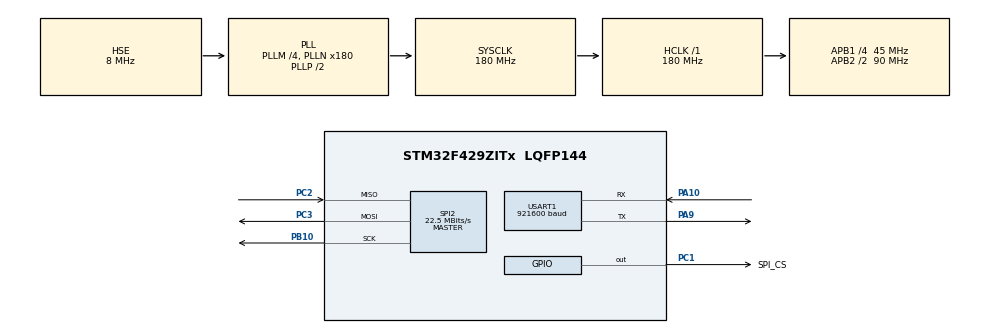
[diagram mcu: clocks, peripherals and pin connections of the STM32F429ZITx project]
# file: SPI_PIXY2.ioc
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Mcu.Family=STM32F4
Mcu.Name=STM32F429ZITx
Mcu.Package=LQFP144
NVIC.PriorityGroup=NVIC_PRIORITYGROUP_4
PA10.Mode=Asynchronous
PA10.Signal=USART1_RX
PA9.Mode=Asynchronous
PA9.Signal=USART1_TX
PB10.Mode=Full_Duplex_Master
PB10.Signal=SPI2_SCK
PC1.GPIO_Label=SPI_CS
PC1.GPIO_PuPd=GPIO_PULLUP
PC1.GPIO_Speed=GPIO_SPEED_FREQ_HIGH
PC1.PinState=GPIO_PIN_SET
PC1.Signal=GPIO_Output
PC2.Mode=Full_Duplex_Master
PC2.Signal=SPI2_MISO
PC3.Mode=Full_Duplex_Master
PC3.Signal=SPI2_MOSI
PH0/OSC_IN.Mode=HSE-External-Oscillator
PH0/OSC_IN.Signal=RCC_OSC_IN
PH1/OSC_OUT.Mode=HSE-External-Oscillator
PH1/OSC_OUT.Signal=RCC_OSC_OUT
ProjectManager.HeapSize=0x200
ProjectManager.StackSize=0x400
ProjectManager.TargetToolchain=STM32CubeIDE
RCC.48MHZClocksFreq_Value=90000000
RCC.AHBFreq_Value=180000000
RCC.APB1CLKDivider=RCC_HCLK_DIV4
RCC.APB1Freq_Value=45000000
RCC.APB1TimFreq_Value=90000000
RCC.APB2CLKDivider=RCC_HCLK_DIV2
RCC.APB2Freq_Value=90000000
RCC.APB2TimFreq_Value=180000000
RCC.CortexFreq_Value=180000000
RCC.HCLKFreq_Value=180000000
RCC.HSE_VALUE=8000000
RCC.HSI_VALUE=16000000
RCC.LSE_VALUE=32768
RCC.PLLM=4
RCC.PLLN=180
RCC.PLLSourceVirtual=RCC_PLLSOURCE_HSE
RCC.SYSCLKFreq_VALUE=180000000
RCC.SYSCLKSource=RCC_SYSCLKSOURCE_PLLCLK
RCC.VCOOutputFreq_Value=360000000
SPI2.CalculateBaudRate=22.5 MBits/s
SPI2.Direction=SPI_DIRECTION_2LINES
SPI2.Mode=SPI_MODE_MASTER
SPI2.VirtualType=VM_MASTER
USART1.BaudRate=921600
USART1.VirtualMode=VM_ASYNC
board=custom

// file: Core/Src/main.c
/* USER CODE BEGIN Header */
/**
 ******************************************************************************
 * @file           : main.c
 * @brief          : Main program body
 ******************************************************************************
 * @attention
 *
 * Copyright (c) 2023 STMicroelectronics.
 * All rights reserved.
 *
 * This software is licensed under terms that can be found in the LICENSE file
 * in the root directory of this software component.
 * If no LICENSE file comes with this software, it is provided AS-IS.
 *
 ******************************************************************************
 */
/* USER CODE END Header */
#include "main.h"

/* USER CODE BEGIN Includes */
#include "Pixy2.h"
#include "PIDLoop.h"
/* USER CODE END Includes */

SPI_HandleTypeDef hspi2;

UART_HandleTypeDef huart1;

void SystemClock_Config(void);
static void MX_GPIO_Init(void);
static void MX_SPI2_Init(void);
static void MX_USART1_UART_Init(void);

/* USER CODE BEGIN 0 */
int __io_putchar(int ch) {
	(void) HAL_UART_Transmit(&huart1, (uint8_t*) &ch, 1, 100);
	return ch;
}
/* USER CODE END 0 */

int main(void) {

	/* MCU Configuration--------------------------------------------------------*/

	/* Reset of all peripherals, Initializes the Flash interface and the Systick. */
	HAL_Init();

	/* Configure the system clock */
	SystemClock_Config();

	/* Initialize all configured peripherals */
	MX_GPIO_Init();
	MX_SPI2_Init();
	MX_USART1_UART_Init();
	/* USER CODE BEGIN 2 */
	extern Block *blocks;
	extern uint8_t numBlocks;
	extern Pixy2 pixy;
	int32_t panOffset, tiltOffset;
	PIDLoop pan_pid;
	PIDLoop tilt_pid;

	pixy2_init(&hspi2, SPI_CS_GPIO_Port, SPI_CS_Pin);

	PIDLoop_init(&pan_pid, 400, 0, 400);
	PIDLoop_init(&tilt_pid, 500, 0, 500);

	pixy2_printVersion();
	/* USER CODE END 2 */

	/* Infinite loop */
	/* USER CODE BEGIN WHILE */
	while (1) {

		numBlocks = pixy2_getBlocks(true, CCC_SIG_ALL, 0xff);

		if (numBlocks) {
			for (int i = 0; i < numBlocks; i++) {
				pixy2_printBlock(i);
			}
			printf("\r\n");

			panOffset = (int32_t) pixy.frameWidth / 2 - (int32_t) (blocks + 0)->m_x;
			tiltOffset = (int32_t) (blocks + 0)->m_y
					- (int32_t) pixy.frameHeight / 2;

			PIDLoop_update(&pan_pid, panOffset);
			PIDLoop_update(&tilt_pid, tiltOffset);

			// set pan and tilt servos
			pixy2_setServos((uint16_t)(pan_pid.m_command), (uint16_t)(tilt_pid.m_command));
		} else {
			//reset(&pan_pid);
			//reset(&tilt_pid);
			pixy2_setServos((uint16_t)(pan_pid.m_command), (uint16_t)(tilt_pid.m_command));
		}

		/* USER CODE END WHILE */

	}
}

void SystemClock_Config(void) {
	RCC_OscInitTypeDef RCC_OscInitStruct = { 0 };
	RCC_ClkInitTypeDef RCC_ClkInitStruct = { 0 };

	/** Configure the main internal regulator output voltage
	 */
	__HAL_RCC_PWR_CLK_ENABLE();
	__HAL_PWR_VOLTAGESCALING_CONFIG(PWR_REGULATOR_VOLTAGE_SCALE1);

	/** Initializes the RCC Oscillators according to the specified parameters
	 * in the RCC_OscInitTypeDef structure.
	 */
	RCC_OscInitStruct.OscillatorType = RCC_OSCILLATORTYPE_HSE;
	RCC_OscInitStruct.HSEState = RCC_HSE_ON;
	RCC_OscInitStruct.PLL.PLLState = RCC_PLL_ON;
	RCC_OscInitStruct.PLL.PLLSource = RCC_PLLSOURCE_HSE;
	RCC_OscInitStruct.PLL.PLLM = 4;
	RCC_OscInitStruct.PLL.PLLN = 180;
	RCC_OscInitStruct.PLL.PLLP = RCC_PLLP_DIV2;
	RCC_OscInitStruct.PLL.PLLQ = 4;
	if (HAL_RCC_OscConfig(&RCC_OscInitStruct) != HAL_OK) {
		Error_Handler();
	}

	/** Activate the Over-Drive mode
	 */
	if (HAL_PWREx_EnableOverDrive() != HAL_OK) {
		Error_Handler();
	}

	/** Initializes the CPU, AHB and APB buses clocks
	 */
	RCC_ClkInitStruct.ClockType = RCC_CLOCKTYPE_HCLK | RCC_CLOCKTYPE_SYSCLK
			| RCC_CLOCKTYPE_PCLK1 | RCC_CLOCKTYPE_PCLK2;
	RCC_ClkInitStruct.SYSCLKSource = RCC_SYSCLKSOURCE_PLLCLK;
	RCC_ClkInitStruct.AHBCLKDivider = RCC_SYSCLK_DIV1;
	RCC_ClkInitStruct.APB1CLKDivider = RCC_HCLK_DIV4;
	RCC_ClkInitStruct.APB2CLKDivider = RCC_HCLK_DIV2;

	if (HAL_RCC_ClockConfig(&RCC_ClkInitStruct, FLASH_LATENCY_5) != HAL_OK) {
		Error_Handler();
	}
}

static void MX_SPI2_Init(void) {

	/* SPI2 parameter configuration*/
	hspi2.Instance = SPI2;
	hspi2.Init.Mode = SPI_MODE_MASTER;
	hspi2.Init.Direction = SPI_DIRECTION_2LINES;
	hspi2.Init.DataSize = SPI_DATASIZE_8BIT;
	hspi2.Init.CLKPolarity = SPI_POLARITY_LOW;
	hspi2.Init.CLKPhase = SPI_PHASE_2EDGE;
	hspi2.Init.NSS = SPI_NSS_SOFT;
	hspi2.Init.BaudRatePrescaler = SPI_BAUDRATEPRESCALER_2;
	hspi2.Init.FirstBit = SPI_FIRSTBIT_MSB;
	hspi2.Init.TIMode = SPI_TIMODE_DISABLE;
	hspi2.Init.CRCCalculation = SPI_CRCCALCULATION_DISABLE;
	hspi2.Init.CRCPolynomial = 10;
	if (HAL_SPI_Init(&hspi2) != HAL_OK) {
		Error_Handler();
	}

}

static void MX_USART1_UART_Init(void) {

	huart1.Instance = USART1;
	huart1.Init.BaudRate = 921600;
	huart1.Init.WordLength = UART_WORDLENGTH_8B;
	huart1.Init.StopBits = UART_STOPBITS_1;
	huart1.Init.Parity = UART_PARITY_NONE;
	huart1.Init.Mode = UART_MODE_TX_RX;
	huart1.Init.HwFlowCtl = UART_HWCONTROL_NONE;
	huart1.Init.OverSampling = UART_OVERSAMPLING_16;
	if (HAL_UART_Init(&huart1) != HAL_OK) {
		Error_Handler();
	}

}

static void MX_GPIO_Init(void) {
	GPIO_InitTypeDef GPIO_InitStruct = { 0 };

	/* GPIO Ports Clock Enable */
	__HAL_RCC_GPIOH_CLK_ENABLE();
	__HAL_RCC_GPIOC_CLK_ENABLE();
	__HAL_RCC_GPIOB_CLK_ENABLE();
	__HAL_RCC_GPIOA_CLK_ENABLE();

	/*Configure GPIO pin Output Level */
	HAL_GPIO_WritePin(SPI_CS_GPIO_Port, SPI_CS_Pin, GPIO_PIN_SET);

	/*Configure GPIO pin : SPI_CS_Pin */
	GPIO_InitStruct.Pin = SPI_CS_Pin;
	GPIO_InitStruct.Mode = GPIO_MODE_OUTPUT_PP;
	GPIO_InitStruct.Pull = GPIO_PULLUP;
	GPIO_InitStruct.Speed = GPIO_SPEED_FREQ_HIGH;
	HAL_GPIO_Init(SPI_CS_GPIO_Port, &GPIO_InitStruct);

}

void Error_Handler(void) {
	__disable_irq();
	while (1) {
	}
}
